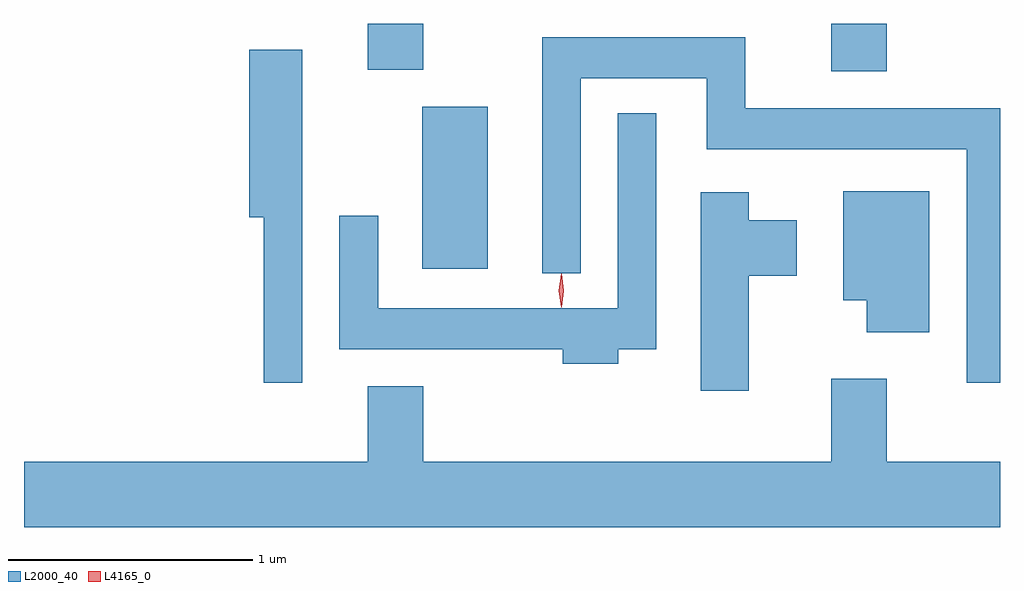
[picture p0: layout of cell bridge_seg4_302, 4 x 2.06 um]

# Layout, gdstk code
import gdstk
lib = gdstk.Library(unit=1e-6, precision=1e-09)
def R(c, l, rs):  # rectangles x0, y0, x1, y1
    for r in rs: c.add(gdstk.rectangle(r[:2], r[2:], *l))
def P(c, l, *ps):  # polygons
    for p in ps: c.add(gdstk.Polygon(p, *l))
L2000_40 = (2000, 40)
L4165_0 = (4165, 0)

bridge_seg4_302 = lib.new_cell('bridge_seg4_302')
R(bridge_seg4_302, L2000_40, [(537.906,1304.676,538.174,1305.339), (539.581,1305.486,539.809,1305.68), (537.681,1305.491,537.909,1305.68)])
P(bridge_seg4_302, L2000_40, [(540.273,1305.334),(539.229,1305.334),(539.229,1305.624),(538.396,1305.624),(538.396,1304.658),(538.554,1304.658),(538.554,1305.456),(539.071,1305.456),(539.071,1305.166),(540.136,1305.166),(540.136,1304.208),(540.273,1304.208)],
  [(537.414,1305.574),(537.196,1305.574),(537.196,1304.886),(537.256,1304.886),(537.256,1304.208),(537.414,1304.208)],
  [(538.709,1304.346),(538.864,1304.346),(538.864,1305.313),(538.706,1305.313),(538.706,1304.514),(537.724,1304.514),(537.724,1304.893),(537.566,1304.893),(537.566,1304.346),(538.481,1304.346),(538.481,1304.286),(538.709,1304.286)],
  [(539.984,1304.994),(539.631,1304.994),(539.631,1304.546),(539.726,1304.546),(539.726,1304.416),(539.984,1304.416)],
  [(539.244,1304.646),(539.439,1304.646),(539.439,1304.874),(539.244,1304.874),(539.244,1304.989),(539.046,1304.989),(539.046,1304.176),(539.244,1304.176)],
  [(540.273,1303.884),(539.809,1303.884),(539.809,1304.224),(539.581,1304.224),(539.581,1303.884),(537.909,1303.884),(537.909,1304.194),(537.681,1304.194),(537.681,1303.884),(536.273,1303.884),(536.273,1303.616),(540.273,1303.616)])
P(bridge_seg4_302, L4165_0, [(538.474,1304.517),(538.465,1304.586),(538.474,1304.656),(538.475,1304.656),(538.476,1304.656),(538.485,1304.586),(538.476,1304.517),(538.475,1304.517)],
  [(538.476,1304.52),(538.466,1304.586),(538.476,1304.652),(538.476,1304.653),(538.477,1304.652),(538.486,1304.586),(538.477,1304.52),(538.477,1304.52)])

lib.write_gds('bridge_seg4_302.gds')
